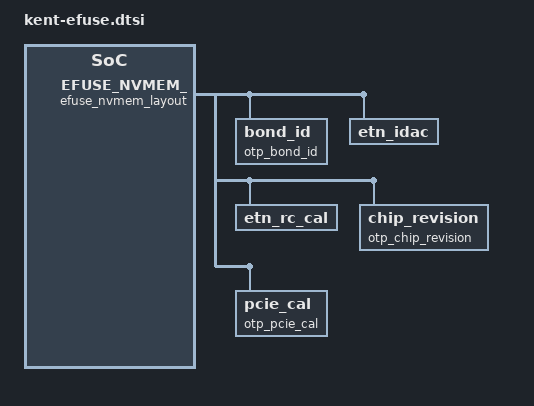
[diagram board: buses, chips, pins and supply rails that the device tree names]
&efuse_nvmem_layout {
	otp_bond_id: bond_id@3c8,0 {
		reg = <0x3c8 0x4>;
	};
	etn_idac: etn_idac@500,0 {
		reg = <0x500 0x2>;
		bits = <0 10>;
	};
	etn_rc_cal: etn_rc_cal@500,16 {
		reg = <0x500 0x3>;
		bits = <16 7>;
	};
	otp_chip_revision: chip_revision@540,0 {
		reg = <0x540 0x2>;
	};
	otp_pcie_cal: pcie_cal@fcc,0 {
		reg = <0xfcc 0x1>;
	};
};
